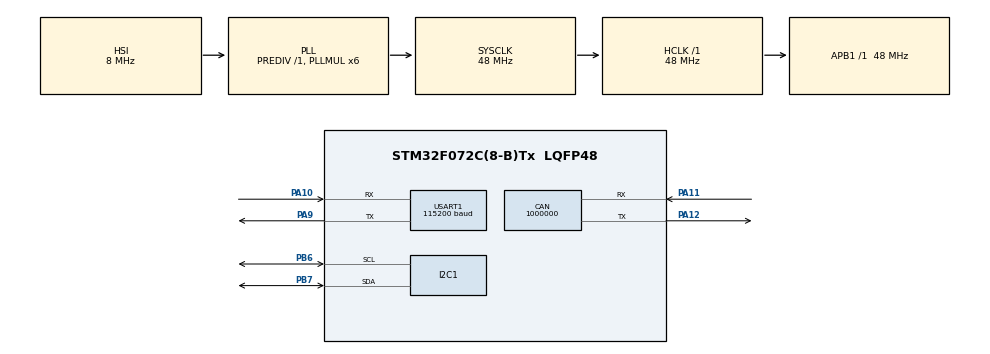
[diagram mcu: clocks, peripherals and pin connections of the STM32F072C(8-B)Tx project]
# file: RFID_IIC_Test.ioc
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CAN.CalculateBaudRate=1000000
CAN.CalculateTimeQuantum=333.3333333333333
CAN.SJW=CAN_SJW_3TQ
I2C1.Timing=0x10805D88
Mcu.Family=STM32F0
Mcu.Name=STM32F072C(8-B)Tx
Mcu.Package=LQFP48
NVIC.TIM1_BRK_UP_TRG_COM_IRQn=true\:3\:0\:false\:false\:true\:false\:true\:true
NVIC.TimeBase=TIM1_BRK_UP_TRG_COM_IRQn
NVIC.TimeBaseIP=TIM1
PA10.Mode=Asynchronous
PA10.Signal=USART1_RX
PA11.Mode=CAN_Activate
PA11.Signal=CAN_RX
PA12.Mode=CAN_Activate
PA12.Signal=CAN_TX
PA9.Mode=Asynchronous
PA9.Signal=USART1_TX
PB6.Mode=I2C
PB6.Signal=I2C1_SCL
PB7.Mode=I2C
PB7.Signal=I2C1_SDA
PF0-OSC_IN.Mode=HSE-External-Oscillator
PF0-OSC_IN.Signal=RCC_OSC_IN
PF1-OSC_OUT.Mode=HSE-External-Oscillator
PF1-OSC_OUT.Signal=RCC_OSC_OUT
ProjectManager.HeapSize=0x200
ProjectManager.StackSize=0x400
ProjectManager.TargetToolchain=STM32CubeIDE
RCC.AHBFreq_Value=48000000
RCC.APB1Freq_Value=48000000
RCC.APB1TimFreq_Value=48000000
RCC.HCLKFreq_Value=48000000
RCC.I2c1ClockSelection=RCC_I2C1CLKSOURCE_SYSCLK
RCC.PLLMUL=RCC_PLL_MUL6
RCC.SYSCLKFreq_VALUE=48000000
RCC.SYSCLKSource=RCC_SYSCLKSOURCE_PLLCLK
USART1.BaudRate=115200
USART1.VirtualMode-Asynchronous=VM_ASYNC
VP_SYS_VS_tim1.Mode=TIM1
board=custom

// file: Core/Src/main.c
/* USER CODE BEGIN Header */
/**
  ******************************************************************************
  * @file           : main.c
  * @brief          : Main program body
  ******************************************************************************
  * @attention
  *
  * Copyright (c) 2024 STMicroelectronics.
  * All rights reserved.
  *
  * This software is licensed under terms that can be found in the LICENSE file
  * in the root directory of this software component.
  * If no LICENSE file comes with this software, it is provided AS-IS.
  *
  ******************************************************************************
  */
/* USER CODE END Header */
#include "main.h"
#include "can.h"
#include "i2c.h"
#include "usart.h"
#include "gpio.h"

/* USER CODE BEGIN Includes */
#include "rfid.h"
#include "oled.h"
#include "time.h"
#include "aes.h"
/* USER CODE END Includes */

void SystemClock_Config(void);
/* USER CODE BEGIN PFP */
uint8_t read_flag = 0;
/* USER CODE END PFP */

int main(void)
{

  /* USER CODE BEGIN 1 */
	// 修改密码
//  write_data.hot_bed_temp_H = 100;
//  write_data.hot_bed_temp_L = 40;
//  write_data.exthead_temp_L = 150;
//  write_data.exthead_temp_H = 400;
  Material_Data write_data;
  Material_Data read_data;
  memset(&write_data, 0, sizeof(write_data));
  memcpy(write_data.material_type, "PLA",sizeof("PLA"));
  memcpy(write_data.batch_number, "MD202411120001", sizeof("MD202411120001"));
  write_data.cavity_temp = 35;
  write_data.rgb[0] = 0xff;
  write_data.rgb[1] = 0xff;
  write_data.rgb[2] = 0xff;
  write_data.produced_date =1731578537;
  write_data.material_diameter = 1.75;
  write_data.material_density = 1.23;
  write_data.init_weight = 2000;
  write_data.empty_tray_weight = 150;
  write_data.residual_weight = 1500;
  memcpy(write_data.supplier, "MD9999",sizeof("MD9999"));
  memcpy(write_data.machines[0].machine_type, "MD1000D",sizeof("MD1000D"));
  write_data.machines[0].fan_speed = 100;
  write_data.machines[0].flow_ratio = 25.5;
  write_data.machines[0].nozzle_temp = 220;
  write_data.machines[0].nozzle_temp_l = 150;
  write_data.machines[0].nozzle_temp_h = 400;
  write_data.machines[0].hot_bed_temp = 50;
  write_data.machines[0].hot_bed_temp_l = 40;
  write_data.machines[0].hot_bed_temp_h = 100;
  write_data.machines[0].advance_pressure = 0.1;

/*
 * 50 4c 41 00 00 00 00 00 00 ff ff ff a9 ca 35 67
 * 5e a1 79 25 f7 e6 b7 93 f0 94 05 d2 ae 53 18 41// aes
 * 4d 44 30 30 30 30 31 00 28 00 64 00 96 00 90 01 (1)
 * 96 de fd 2a 09 c1 38 92 ab c0 5a c3 89 25 d2 ea// aes
 * d0 07 96 00 dc 05 01 00 00 00 e0 3f a4 70 9d 3f	(3)
 * 50 7a 6a 5d 0a d5 13 6d 5e 72 43 a4 5b 06 6a c0
 * */

  /* USER CODE END 1 */

  /* MCU Configuration--------------------------------------------------------*/

  /* Reset of all peripherals, Initializes the Flash interface and the Systick. */
  HAL_Init();

  /* Configure the system clock */
  SystemClock_Config();

  /* Initialize all configured peripherals */
  MX_GPIO_Init();
  MX_I2C1_Init();
  MX_USART1_UART_Init();
  MX_CAN_Init();
  /* USER CODE BEGIN 2 */

  OLED_Init();
  OLED_Clear();

  RFID_Rc523_Config();

  /* USER CODE END 2 */

  /* Infinite loop */
  /* USER CODE BEGIN WHILE */
  while (1)
  {

//	  OLED_ShowHexArray((uint8_t*)&write_data , 8, 1);
//	  OLED_ShowHexArray((uint8_t*)&write_data + 8, 8, 2);
//	  OLED_ShowHexArray((uint8_t*)&write_data + 16, 8, 3);
//	  OLED_ShowHexArray((uint8_t*)&write_data + 24, 8, 4);
//	  HAL_Delay(5000);
//	  OLED_Clear();
//	  OLED_ShowHexArray((uint8_t*)&write_data + 32, 8, 1);
//	  OLED_ShowHexArray((uint8_t*)&write_data + 40, 8, 2);
//	  HAL_Delay(5000);
//	  OLED_Clear();
	  //rfid_write_channel_data(0x02, &write_data);

	  memset(&read_data,0,sizeof(read_data));
	  rfid_read_channel_data(0x02, &read_data);
	  OLED_ShowHexArray((uint8_t*)&read_data , 8, 1);
	  OLED_ShowHexArray((uint8_t*)&read_data + 8, 8, 2);
	  OLED_ShowHexArray((uint8_t*)&read_data + 16, 8, 3);
	  OLED_ShowHexArray((uint8_t*)&read_data + 24, 8, 4);
	  HAL_Delay(5000);
	  OLED_Clear();
	  OLED_ShowHexArray((uint8_t*)&read_data + 32, 8, 1);
	  OLED_ShowHexArray((uint8_t*)&read_data + 40, 8, 2);
	  OLED_ShowHexArray((uint8_t*)&read_data + 48, 8, 3);
	  OLED_ShowHexArray((uint8_t*)&read_data + 56, 8, 4);
	  HAL_Delay(5000);
	  OLED_Clear();
	  OLED_ShowHexArray((uint8_t*)&read_data + 64, 8, 1);
	  OLED_ShowHexArray((uint8_t*)&read_data + 72, 8, 2);
	  OLED_ShowHexArray((uint8_t*)&read_data + 80, 8, 3);
	  OLED_ShowHexArray((uint8_t*)&read_data + 88, 8, 4);
	  HAL_Delay(5000);
	  OLED_Clear();

    /* USER CODE END WHILE */

  }
}

void SystemClock_Config(void)
{
  RCC_OscInitTypeDef RCC_OscInitStruct = {0};
  RCC_ClkInitTypeDef RCC_ClkInitStruct = {0};
  RCC_PeriphCLKInitTypeDef PeriphClkInit = {0};

  /** Initializes the RCC Oscillators according to the specified parameters
  * in the RCC_OscInitTypeDef structure.
  */
  RCC_OscInitStruct.OscillatorType = RCC_OSCILLATORTYPE_HSI;
  RCC_OscInitStruct.HSIState = RCC_HSI_ON;
  RCC_OscInitStruct.HSICalibrationValue = RCC_HSICALIBRATION_DEFAULT;
  RCC_OscInitStruct.PLL.PLLState = RCC_PLL_ON;
  RCC_OscInitStruct.PLL.PLLSource = RCC_PLLSOURCE_HSI;
  RCC_OscInitStruct.PLL.PLLMUL = RCC_PLL_MUL6;
  RCC_OscInitStruct.PLL.PREDIV = RCC_PREDIV_DIV1;
  if (HAL_RCC_OscConfig(&RCC_OscInitStruct) != HAL_OK)
  {
    Error_Handler();
  }

  /** Initializes the CPU, AHB and APB buses clocks
  */
  RCC_ClkInitStruct.ClockType = RCC_CLOCKTYPE_HCLK|RCC_CLOCKTYPE_SYSCLK
                              |RCC_CLOCKTYPE_PCLK1;
  RCC_ClkInitStruct.SYSCLKSource = RCC_SYSCLKSOURCE_PLLCLK;
  RCC_ClkInitStruct.AHBCLKDivider = RCC_SYSCLK_DIV1;
  RCC_ClkInitStruct.APB1CLKDivider = RCC_HCLK_DIV1;

  if (HAL_RCC_ClockConfig(&RCC_ClkInitStruct, FLASH_LATENCY_1) != HAL_OK)
  {
    Error_Handler();
  }
  PeriphClkInit.PeriphClockSelection = RCC_PERIPHCLK_USART1|RCC_PERIPHCLK_I2C1;
  PeriphClkInit.Usart1ClockSelection = RCC_USART1CLKSOURCE_PCLK1;
  PeriphClkInit.I2c1ClockSelection = RCC_I2C1CLKSOURCE_SYSCLK;
  if (HAL_RCCEx_PeriphCLKConfig(&PeriphClkInit) != HAL_OK)
  {
    Error_Handler();
  }
}

void HAL_TIM_PeriodElapsedCallback(TIM_HandleTypeDef *htim)
{
  if (htim->Instance == TIM1) {
    HAL_IncTick();
  }
}

void Error_Handler(void)
{
  __disable_irq();
  while (1)
  {
  }
}
